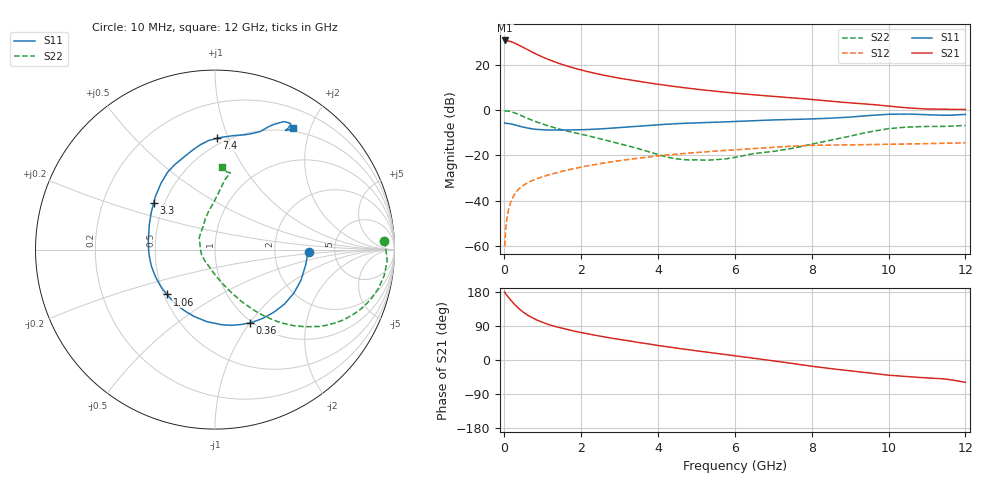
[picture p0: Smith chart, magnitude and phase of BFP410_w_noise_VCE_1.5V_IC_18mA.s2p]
! Infineon Technologies  Discrete & RF Semiconductors
! BFP410
! VCE =  1.5 V,  IC =  18 mA
! Common Emitter S-Parameters:  Nov 2015
# GHz  S  MA  R  50
!  f  S11  S21  S12  S22
! GHz  MAG  ANG  MAG  ANG  MAG  ANG  MAG  ANG
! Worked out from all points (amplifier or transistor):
!   243 points, 10 MHz to 12 GHz, reference 50 ohm
!   highest |S21| = 30.7 dB at 20 MHz (marker M1)
!   |S21| within 3 dB of that: start of sweep to 486 MHz
!   unconditionally stable (mu >= 1): start of sweep to 11.06 MHz; 1.858 GHz to end of sweep
!   at 240 MHz: K = 0.26, MSG = 33.9 dB, |S12| = -38.0 dB
!   at 1.84 GHz: K = 1.00, MSG = 22.1 dB, |S12| = -25.7 dB
!   at 12 GHz: K = 1.02, MAG = 6.5 dB, |S12| = -14.4 dB
!   lowest NFmin = 1.63 dB at 900 MHz
!   S11 on the Smith chart (normalised r, x): 10 MHz: 3.19, -0.14; 360 MHz: 0.98, -1.00; 1.06 GHz: 0.52, -0.30; 3.3 GHz: 0.44, +0.28; 7.4 GHz: 0.45, +0.91; 12 GHz: 0.46, +1.74
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0.01  0.5237 -1.7  34.16 179.5  0.001 107.6  0.9446 2.9
0.02  0.5162 -3.4  34.45 177.1  0.0013 91.1  0.9542 -0.8
0.1  0.5085 -19.7  33.75 166.9  0.0057 82.7  0.9536 -8.8
0.15  0.5019 -28.9  32.9 160.4  0.0083 79.4  0.9359 -13.4
0.2  0.492 -38.0  31.9 154.5  0.0107 75.9  0.9111 -17.7
0.3  0.4665 -55.2  29.37 143.4  0.0151 70.7  0.8504 -25.2
0.36  0.4518 -64.5  27.74 137.7  0.0175 68.1  0.8109 -29.1
0.5  0.4213 -84.3  24.04 125.9  0.022 63.5  0.7205 -36.5
0.6  0.4042 -96.3  21.65 118.8  0.0248 61.2  0.6624 -40.5
0.7  0.3906 -107.2  19.58 113.0  0.0273 59.6  0.6116 -43.9
0.9  0.3744 -125.2  16.2 103.2  0.0319 57.6  0.5281 -49.2
1.06  0.3664 -137.0  14.11 97.1  0.0353 56.7  0.4743 -52.4
1.48  0.364 -160.4  10.35 84.2  0.0443 55.0  0.3738 -59.1
2.02  0.3703 178.1  7.615 72.0  0.0561 52.4  0.2926 -65.4
2.6  0.3907 159.6  5.872 60.9  0.0686 48.4  0.2217 -73.2
3.3  0.4296 142.6  4.593 49.7  0.0833 43.1  0.1564 -85.3
4.1  0.4823 127.4  3.627 37.0  0.0998 36.5  0.0993 -109.9
6.1  0.5679 102.7  2.332 9.9  0.1353 19.4  0.0942 154.4
7.4  0.6201 89.0  1.901 -7.7  0.1592 7.0  0.1391 119.6
8.2  0.6498 78.5  1.661 -18.9  0.1684 -2.2  0.1927 104.1
10.2  0.8145 60.5  1.183 -41.6  0.1775 -18.4  0.4042 81.0
12  0.8044 57.2  1.034 -58.9  0.1907 -33.3  0.4613 85.1
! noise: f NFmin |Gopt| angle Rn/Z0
0.45  1.66  0.11  -153  0.17
0.9  1.63  0.12  -155  0.16
1.8  1.76  0.16  -140  0.17
2.4  1.75  0.21  -123  0.24
5.5  2.63  0.42  -104  0.39
10  3.74  0.69  -46  2.37
